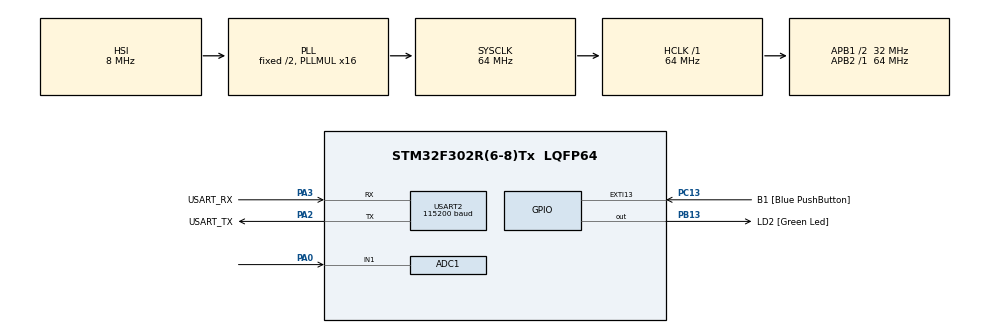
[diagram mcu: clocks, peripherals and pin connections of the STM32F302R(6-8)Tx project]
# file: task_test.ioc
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Mcu.Family=STM32F3
PA2.GPIO_PuPd=GPIO_NOPULL
RCC.CortexFreq_Value=64000000
ADC1.Rank-0\#ChannelRegularConversion=1
ADC1.OffsetNumber-0\#ChannelRegularConversion=ADC_OFFSET_NONE
PC13.Signal=GPXTI13
PA14.GPIO_Label=TCK
RCC.SYSCLKSourceVirtual=RCC_SYSCLKSOURCE_PLLCLK
PA3.GPIO_PuPd=GPIO_NOPULL
PA2.GPIO_Speed=GPIO_SPEED_FREQ_LOW
PC13.GPIO_Label=B1 [Blue PushButton]
RCC.APB1CLKDivider=RCC_HCLK_DIV2
PB13.GPIO_Label=LD2 [Green Led]
PA3.GPIO_Speed=GPIO_SPEED_FREQ_LOW
PB13.Signal=GPIO_Output
NVIC.USART2_IRQn=true\:0\:0\:false\:false\:true\:true\:true
USART2.BaudRate=115200
ProjectManager.StackSize=0x400
PA13.Signal=SYS_JTMS-SWDIO
PA3.Mode=Asynchronous
ProjectManager.TargetToolchain=STM32CubeIDE
ADC1.SamplingTimeOPAMP-0\#ChannelRegularConversion=ADC_SAMPLETIME_61CYCLES_5
ADC1.Offset-0\#ChannelRegularConversion=0
PA3.GPIO_Mode=GPIO_MODE_AF_PP
RCC.HCLKFreq_Value=64000000
RCC.APB2TimFreq_Value=64000000
ADC1.SubFamily=STM32F302x8
RCC.USBFreq_Value=64000000
RCC.LSE_VALUE=32768
RCC.AHBFreq_Value=64000000
PC15\ -\ OSC32_OUT.Signal=RCC_OSC32_OUT
ADC1.Channel-0\#ChannelRegularConversion=ADC_CHANNEL_1
RCC.HSE_VALUE=8000000
board=NUCLEO-F302R8
USART2.VirtualMode-Asynchronous=VM_ASYNC
RCC.RCC_PLLsource_Clock_Source_FROM_HSE=RCC_HSE_PREDIV_DIV2
RCC.PLLMUL=RCC_PLL_MUL16
RCC.APB2Freq_Value=64000000
NVIC.TIM2_IRQn=true\:0\:0\:false\:false\:true\:false\:true
PA0.Mode=IN1-Single-Ended
Mcu.Name=STM32F302R(6-8)Tx
ADC1.SamplingTime-0\#ChannelRegularConversion=ADC_SAMPLETIME_1CYCLE_5
PA2.Signal=USART2_TX
PA13.GPIO_Label=TMS
PA0.Signal=ADC1_IN1
PB3.Signal=SYS_JTDO-TRACESWO
RCC.SYSCLKFreq_VALUE=64000000
Mcu.Package=LQFP64
VP_SYS_VS_tim2.Mode=TIM2
ADC1.master=1
ADC1.EnableInjectedConversion=DISABLE
NVIC.TimeBase=TIM2_IRQn
PC13.GPIO_ModeDefaultEXTI=GPIO_MODE_IT_FALLING
PA2.GPIO_Label=USART_TX
NVIC.TimeBaseIP=TIM2
PA14.Signal=SYS_JTCK-SWCLK
ProjectManager.HeapSize=0x200
RCC.HSI_VALUE=8000000
RCC.PLLP=RCC_PLLP_DIV4
RCC.PLLQ=7
NVIC.PriorityGroup=NVIC_PRIORITYGROUP_4
ADC1.NbrOfConversionFlag=1
RCC.PLLM=8
RCC.PLLN=336
RCC.APB1TimFreq_Value=64000000
PA2.Mode=Asynchronous
PF0-OSC_IN.Signal=RCC_OSC_IN
RCC.APB1Freq_Value=32000000
PF1-OSC_OUT.Signal=RCC_OSC_OUT
PA3.GPIO_Label=USART_RX
PA3.Signal=USART2_RX
PC14\ -\ OSC32_IN.Signal=RCC_OSC32_IN
PA2.GPIO_Mode=GPIO_MODE_AF_PP
PB3.GPIO_Label=SWO

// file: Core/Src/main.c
/* USER CODE BEGIN Header */
/**
  ******************************************************************************
  * @file           : main.c
  * @brief          : Main program body
  ******************************************************************************
  * @attention
  *
  * <h2><center>&copy; Copyright (c) 2023 STMicroelectronics.
  * All rights reserved.</center></h2>
  *
  * This software component is licensed by ST under BSD 3-Clause license,
  * the "License"; You may not use this file except in compliance with the
  * License. You may obtain a copy of the License at:
  *                        opensource.org/licenses/BSD-3-Clause
  *
  ******************************************************************************
  */
/* USER CODE END Header */
#include "main.h"

/* USER CODE BEGIN Includes */
#include "FreeRTOS.h"
#include "queue.h"
#include "task.h"
/* USER CODE END Includes */

ADC_HandleTypeDef hadc1;

UART_HandleTypeDef huart2;

/* USER CODE BEGIN PV */
BaseType_t status;

QueueHandle_t DataQueue;
 QueueHandle_t PrintQueue;
// QueueHandle_t ADCQueue;

 TaskHandle_t MenuTaskHandle;
 TaskHandle_t CmdTaskHandle;
 TaskHandle_t PrintTaskHandle;
 TaskHandle_t LEDTaskHandle;
 TaskHandle_t ADCTaskHandle;
 volatile uint8_t DataEntered =0;
 uint8_t Dummy =0;

/* USER CODE END PV */

void SystemClock_Config(void);
static void MX_GPIO_Init(void);
static void MX_USART2_UART_Init(void);
static void MX_ADC1_Init(void);
/* USER CODE BEGIN PFP */
void MenuTask(void* param);
void CmdHandlerTask(void* param);
void PrintTask(void* param);
void LEDTask(void* param);
void ADCTask(void* param);
//void ADCPrintTask(void* param);

/* USER CODE END PFP */

int main(void)
{

  /* MCU Configuration--------------------------------------------------------*/

  /* Reset of all peripherals, Initializes the Flash interface and the Systick. */
  HAL_Init();

  /* Configure the system clock */
  SystemClock_Config();

  /* Initialize all configured peripherals */
  MX_GPIO_Init();
  MX_USART2_UART_Init();
  MX_ADC1_Init();
  /* USER CODE BEGIN 2 */
  status = xTaskCreate(MenuTask, "Menu_Task", configMINIMAL_STACK_SIZE, NULL, 3,  &MenuTaskHandle);
  configASSERT(status == pdPASS);

   status = xTaskCreate(CmdHandlerTask, "Cmd_Task", configMINIMAL_STACK_SIZE, NULL, 3, &CmdTaskHandle);
      configASSERT(status == pdPASS);

   status = xTaskCreate(PrintTask, "Print_Task", configMINIMAL_STACK_SIZE, NULL,3, &PrintTaskHandle);
      configASSERT(status == pdPASS);

   status = xTaskCreate( LEDTask, "LED_Task", configMINIMAL_STACK_SIZE, NULL,3, &LEDTaskHandle);
      configASSERT(status == pdPASS);

   status = xTaskCreate(ADCTask, "ADC_Task", configMINIMAL_STACK_SIZE, NULL,3, &ADCTaskHandle);
      configASSERT(status == pdPASS);

   DataQueue = xQueueCreate(10, sizeof(char));
      configASSERT( DataQueue != NULL);

   PrintQueue = xQueueCreate(5, sizeof(size_t));
      configASSERT(PrintQueue!= NULL);

    HAL_UART_Receive_IT(&huart2, (uint8_t*)&DataEntered, 1);

   vTaskStartScheduler();
  /* USER CODE END 2 */

  /* Infinite loop */
  while (1)
  {

  }
}

void SystemClock_Config(void)
{
  RCC_OscInitTypeDef RCC_OscInitStruct = {0};
  RCC_ClkInitTypeDef RCC_ClkInitStruct = {0};
  RCC_PeriphCLKInitTypeDef PeriphClkInit = {0};

  /** Initializes the RCC Oscillators according to the specified parameters
  * in the RCC_OscInitTypeDef structure.
  */
  RCC_OscInitStruct.OscillatorType = RCC_OSCILLATORTYPE_HSI;
  RCC_OscInitStruct.HSIState = RCC_HSI_ON;
  RCC_OscInitStruct.HSICalibrationValue = RCC_HSICALIBRATION_DEFAULT;
  RCC_OscInitStruct.PLL.PLLState = RCC_PLL_ON;
  RCC_OscInitStruct.PLL.PLLSource = RCC_PLLSOURCE_HSI;
  RCC_OscInitStruct.PLL.PLLMUL = RCC_PLL_MUL16;
  if (HAL_RCC_OscConfig(&RCC_OscInitStruct) != HAL_OK)
  {
    Error_Handler();
  }
  /** Initializes the CPU, AHB and APB buses clocks
  */
  RCC_ClkInitStruct.ClockType = RCC_CLOCKTYPE_HCLK|RCC_CLOCKTYPE_SYSCLK
                              |RCC_CLOCKTYPE_PCLK1|RCC_CLOCKTYPE_PCLK2;
  RCC_ClkInitStruct.SYSCLKSource = RCC_SYSCLKSOURCE_PLLCLK;
  RCC_ClkInitStruct.AHBCLKDivider = RCC_SYSCLK_DIV1;
  RCC_ClkInitStruct.APB1CLKDivider = RCC_HCLK_DIV2;
  RCC_ClkInitStruct.APB2CLKDivider = RCC_HCLK_DIV1;

  if (HAL_RCC_ClockConfig(&RCC_ClkInitStruct, FLASH_LATENCY_2) != HAL_OK)
  {
    Error_Handler();
  }
  PeriphClkInit.PeriphClockSelection = RCC_PERIPHCLK_ADC1;
  PeriphClkInit.Adc1ClockSelection = RCC_ADC1PLLCLK_DIV1;

  if (HAL_RCCEx_PeriphCLKConfig(&PeriphClkInit) != HAL_OK)
  {
    Error_Handler();
  }
}

static void MX_ADC1_Init(void)
{

  ADC_ChannelConfTypeDef sConfig = {0};

  /** Common config
  */
  hadc1.Instance = ADC1;
  hadc1.Init.ClockPrescaler = ADC_CLOCK_ASYNC_DIV1;
  hadc1.Init.Resolution = ADC_RESOLUTION_12B;
  hadc1.Init.ScanConvMode = ADC_SCAN_DISABLE;
  hadc1.Init.ContinuousConvMode = DISABLE;
  hadc1.Init.DiscontinuousConvMode = DISABLE;
  hadc1.Init.ExternalTrigConvEdge = ADC_EXTERNALTRIGCONVEDGE_NONE;
  hadc1.Init.ExternalTrigConv = ADC_SOFTWARE_START;
  hadc1.Init.DataAlign = ADC_DATAALIGN_RIGHT;
  hadc1.Init.NbrOfConversion = 1;
  hadc1.Init.DMAContinuousRequests = DISABLE;
  hadc1.Init.EOCSelection = ADC_EOC_SINGLE_CONV;
  hadc1.Init.LowPowerAutoWait = DISABLE;
  hadc1.Init.Overrun = ADC_OVR_DATA_OVERWRITTEN;
  if (HAL_ADC_Init(&hadc1) != HAL_OK)
  {
    Error_Handler();
  }
  /** Configure Regular Channel
  */
  sConfig.Channel = ADC_CHANNEL_1;
  sConfig.Rank = ADC_REGULAR_RANK_1;
  sConfig.SingleDiff = ADC_SINGLE_ENDED;
  sConfig.SamplingTime = ADC_SAMPLETIME_1CYCLE_5;
  sConfig.OffsetNumber = ADC_OFFSET_NONE;
  sConfig.Offset = 0;
  if (HAL_ADC_ConfigChannel(&hadc1, &sConfig) != HAL_OK)
  {
    Error_Handler();
  }

}

static void MX_USART2_UART_Init(void)
{

  huart2.Instance = USART2;
  huart2.Init.BaudRate = 115200;
  huart2.Init.WordLength = UART_WORDLENGTH_8B;
  huart2.Init.StopBits = UART_STOPBITS_1;
  huart2.Init.Parity = UART_PARITY_NONE;
  huart2.Init.Mode = UART_MODE_TX_RX;
  huart2.Init.HwFlowCtl = UART_HWCONTROL_NONE;
  huart2.Init.OverSampling = UART_OVERSAMPLING_16;
  huart2.Init.OneBitSampling = UART_ONE_BIT_SAMPLE_DISABLE;
  huart2.AdvancedInit.AdvFeatureInit = UART_ADVFEATURE_NO_INIT;
  if (HAL_UART_Init(&huart2) != HAL_OK)
  {
    Error_Handler();
  }

}

static void MX_GPIO_Init(void)
{
  GPIO_InitTypeDef GPIO_InitStruct = {0};

  /* GPIO Ports Clock Enable */
  __HAL_RCC_GPIOC_CLK_ENABLE();
  __HAL_RCC_GPIOF_CLK_ENABLE();
  __HAL_RCC_GPIOA_CLK_ENABLE();
  __HAL_RCC_GPIOB_CLK_ENABLE();

  /*Configure GPIO pin Output Level */
  HAL_GPIO_WritePin(LD2_GPIO_Port, LD2_Pin, GPIO_PIN_RESET);

  /*Configure GPIO pin : B1_Pin */
  GPIO_InitStruct.Pin = B1_Pin;
  GPIO_InitStruct.Mode = GPIO_MODE_IT_FALLING;
  GPIO_InitStruct.Pull = GPIO_NOPULL;
  HAL_GPIO_Init(B1_GPIO_Port, &GPIO_InitStruct);

  /*Configure GPIO pin : LD2_Pin */
  GPIO_InitStruct.Pin = LD2_Pin;
  GPIO_InitStruct.Mode = GPIO_MODE_OUTPUT_PP;
  GPIO_InitStruct.Pull = GPIO_NOPULL;
  GPIO_InitStruct.Speed = GPIO_SPEED_FREQ_LOW;
  HAL_GPIO_Init(LD2_GPIO_Port, &GPIO_InitStruct);

}

/* USER CODE BEGIN 4 */
void HAL_UART_RxCpltCallback(UART_HandleTypeDef* huart){

	if(!xQueueIsQueueFullFromISR( DataQueue )){
	 xQueueSendFromISR(DataQueue, (void*)&DataEntered, pdFALSE);
	}
	else{
		if(DataEntered =='\n'){
		  xQueueReceiveFromISR( DataQueue, (void *)&Dummy, NULL);
		  xQueueSendFromISR( DataQueue, (void*)&DataEntered, pdFALSE);
		}
	}
	if(DataEntered =='\n'){
		xTaskNotifyFromISR(CmdTaskHandle, 0, eNoAction, NULL);
	}

	HAL_UART_Receive_IT(&huart2, (uint8_t*)&DataEntered, 1);
}
/* USER CODE END 4 */

 /**
  * @brief  Period elapsed callback in non blocking mode
  * @note   This function is called  when TIM2 interrupt took place, inside
  * HAL_TIM_IRQHandler(). It makes a direct call to HAL_IncTick() to increment
  * a global variable "uwTick" used as application time base.
  * @param  htim : TIM handle
  * @retval None
  */
void HAL_TIM_PeriodElapsedCallback(TIM_HandleTypeDef *htim)
{
  if (htim->Instance == TIM2) {
    HAL_IncTick();
  }
}

void Error_Handler(void)
{
  /* USER CODE BEGIN Error_Handler_Debug */
  /* User can add his own implementation to report the HAL error return state */
  //__disable_irq();
  while (1)
  {
	 // HAL_GPIO_TogglePin(LD2_GPIO_Port, LD2_Pin);
	 // HAL_Delay(500);
  }
  /* USER CODE END Error_Handler_Debug */
}

/************************ (C) COPYRIGHT STMicroelectronics *****END OF FILE****/
